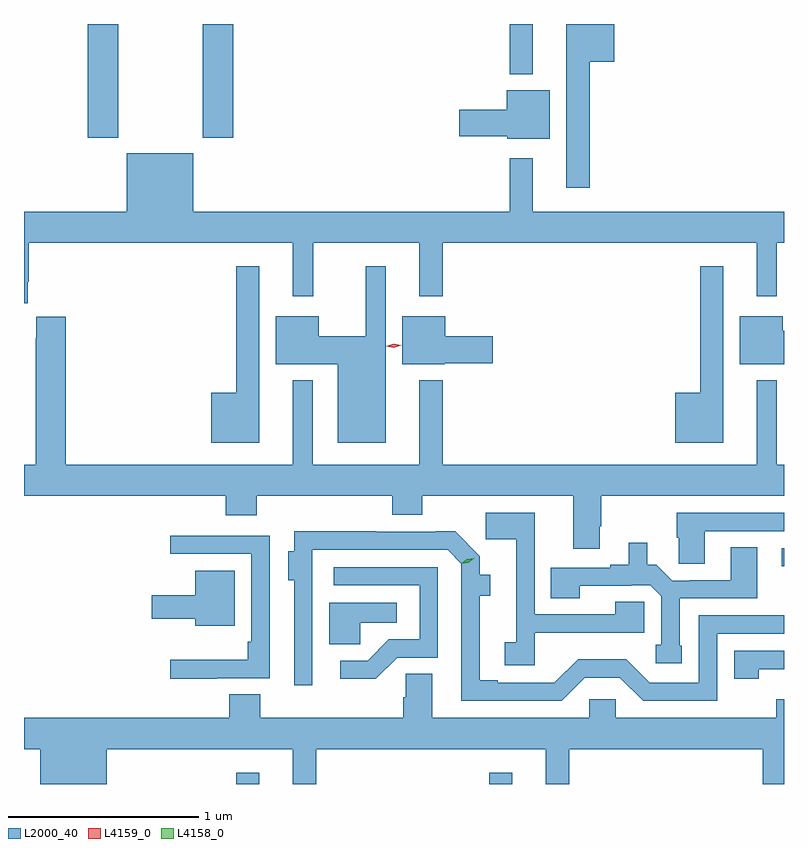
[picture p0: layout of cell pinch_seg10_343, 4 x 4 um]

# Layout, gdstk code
import gdstk
lib = gdstk.Library(unit=1e-6, precision=1e-09)
def R(c, l, rs):  # rectangles x0, y0, x1, y1
    for r in rs: c.add(gdstk.rectangle(r[:2], r[2:], *l))
def P(c, l, *ps):  # polygons
    for p in ps: c.add(gdstk.Polygon(p, *l))
L2000_40 = (2000, 40)
L4158_0 = (4158, 0)
L4159_0 = (4159, 0)

pinch_seg10_343 = lib.new_cell('pinch_seg10_343')
R(pinch_seg10_343, L2000_40, [(445.878,1266.832,445.999,1266.892), (447.21,1266.832,447.331,1266.892), (448.749,1267.977,448.762,1268.073), (445.097,1270.233,445.257,1270.832), (445.702,1270.233,445.862,1270.832), (447.318,1270.568,447.439,1270.832)])
P(pinch_seg10_343, L2000_40, [(447.739,1270.634),(447.868,1270.634),(447.868,1270.832),(447.617,1270.832),(447.617,1269.969),(447.739,1269.969)],
  [(447.529,1270.483),(447.302,1270.483),(447.302,1270.382),(447.054,1270.382),(447.054,1270.24),(447.306,1270.24),(447.306,1270.229),(447.529,1270.229)],
  [(444.762,1269.363),(444.781,1269.363),(444.781,1269.475),(444.788,1269.475),(444.788,1269.68),(446.177,1269.68),(446.177,1269.399),(446.284,1269.399),(446.284,1269.68),(446.843,1269.68),(446.843,1269.399),(446.965,1269.399),(446.965,1269.68),(448.619,1269.68),(448.619,1269.399),(448.723,1269.399),(448.723,1269.68),(448.762,1269.68),(448.762,1269.844),(447.439,1269.844),(447.439,1270.126),(447.318,1270.126),(447.318,1269.844),(445.654,1269.844),(445.654,1270.153),(445.304,1270.153),(445.304,1269.844),(444.762,1269.844)],
  [(446.665,1269.556),(446.561,1269.556),(446.561,1269.188),(446.314,1269.188),(446.314,1269.295),(446.087,1269.295),(446.087,1269.041),(446.414,1269.041),(446.414,1268.627),(446.665,1268.627)],
  [(445.999,1269.556),(445.878,1269.556),(445.878,1268.89),(445.748,1268.89),(445.748,1268.627),(445.999,1268.627)],
  [(448.441,1269.556),(448.32,1269.556),(448.32,1268.89),(448.19,1268.89),(448.19,1268.627),(448.441,1268.627)],
  [(448.762,1269.217),(448.756,1269.217),(448.756,1269.295),(448.529,1269.295),(448.529,1269.041),(448.762,1269.041)],
  [(446.976,1269.047),(447.229,1269.047),(447.229,1269.189),(446.98,1269.189),(446.98,1269.295),(446.753,1269.295),(446.753,1269.041),(446.976,1269.041)],
  [(447.793,1268.188),(447.801,1268.188),(447.801,1268.348),(448.762,1268.348),(448.762,1268.512),(448.723,1268.512),(448.723,1268.956),(448.619,1268.956),(448.619,1268.512),(446.965,1268.512),(446.965,1268.956),(446.843,1268.956),(446.843,1268.512),(446.281,1268.512),(446.281,1268.956),(446.177,1268.956),(446.177,1268.512),(444.983,1268.512),(444.983,1269.292),(444.827,1269.292),(444.827,1269.179),(444.823,1269.179),(444.823,1268.512),(444.762,1268.512),(444.762,1268.348),(445.823,1268.348),(445.823,1268.246),(445.988,1268.246),(445.988,1268.348),(446.699,1268.348),(446.699,1268.249),(446.859,1268.249),(446.859,1268.348),(447.653,1268.348),(447.653,1268.07),(447.793,1268.07)],
  [(447.45,1267.628),(447.917,1267.628),(447.917,1267.629),(448.027,1267.629),(448.027,1267.79),(447.874,1267.79),(447.874,1267.725),(447.45,1267.725),(447.45,1268.26),(447.192,1268.26),(447.192,1268.121),(447.353,1268.121),(447.353,1267.578),(447.291,1267.578),(447.291,1267.458),(447.45,1267.458)],
  [(448.345,1268.163),(448.762,1268.163),(448.762,1268.259),(448.198,1268.259),(448.198,1268.127),(448.207,1268.127),(448.207,1267.99),(448.345,1267.99)],
  [(447.714,1267.392),(447.897,1267.392),(448.02,1267.269),(448.41,1267.269),(448.41,1267.623),(448.762,1267.623),(448.762,1267.719),(448.314,1267.719),(448.314,1267.365),(448.056,1267.365),(447.932,1267.489),(447.678,1267.489),(447.554,1267.365),(447.256,1267.365),(447.256,1267.378),(447.16,1267.378),(447.16,1267.824),(447.217,1267.824),(447.217,1267.934),(447.161,1267.934),(447.161,1268.032),(447.031,1268.162),(446.93,1268.162),(446.93,1268.16),(446.615,1268.16),(446.615,1268.162),(446.184,1268.162),(446.184,1268.056),(446.153,1268.056),(446.153,1267.904),(446.184,1267.904),(446.184,1267.353),(446.28,1267.353),(446.28,1268.064),(446.991,1268.064),(447.063,1267.992),(447.063,1267.269),(447.591,1267.269)],
  [(445.777,1267.389),(446.055,1267.389),(446.055,1268.139),(445.533,1268.139),(445.533,1268.043),(445.959,1268.043),(445.959,1267.582),(445.939,1267.582),(445.939,1267.486),(445.533,1267.486),(445.533,1267.385),(445.777,1267.385)],
  [(448.225,1267.56),(448.212,1267.56),(448.212,1267.809),(448.621,1267.809),(448.621,1268.078),(448.481,1268.078),(448.481,1267.905),(448.267,1267.905),(448.267,1267.902),(448.173,1267.902),(448.089,1267.986),(448.042,1267.986),(448.042,1268.101),(447.944,1268.101),(447.944,1267.986),(447.848,1267.986),(447.848,1267.971),(447.535,1267.971),(447.535,1267.81),(447.687,1267.81),(447.687,1267.875),(447.959,1267.875),(447.959,1267.878),(448.059,1267.878),(448.116,1267.821),(448.116,1267.566),(448.086,1267.566),(448.086,1267.467),(448.225,1267.467)],
  [(446.727,1267.497),(446.94,1267.497),(446.94,1267.974),(446.391,1267.974),(446.391,1267.878),(446.844,1267.878),(446.844,1267.593),(446.682,1267.593),(446.571,1267.482),(446.427,1267.482),(446.427,1267.385),(446.614,1267.385)],
  [(445.87,1267.954),(445.664,1267.954),(445.664,1267.825),(445.434,1267.825),(445.434,1267.703),(445.664,1267.703),(445.664,1267.664),(445.87,1267.664)],
  [(446.533,1267.682),(446.725,1267.682),(446.725,1267.786),(446.369,1267.786),(446.369,1267.568),(446.533,1267.568)],
  [(448.628,1267.436),(448.762,1267.436),(448.762,1267.533),(448.5,1267.533),(448.5,1267.386),(448.628,1267.386)],
  [(444.762,1267.016),(444.848,1267.016),(444.848,1266.832),(445.198,1266.832),(445.198,1267.016),(446.177,1267.016),(446.177,1266.832),(446.299,1266.832),(446.299,1267.016),(447.509,1267.016),(447.509,1266.832),(447.631,1266.832),(447.631,1267.016),(448.65,1267.016),(448.65,1266.832),(448.762,1266.832),(448.762,1267.279),(448.72,1267.279),(448.72,1267.18),(447.876,1267.18),(447.876,1267.278),(447.738,1267.278),(447.738,1267.18),(446.911,1267.18),(446.911,1267.412),(446.772,1267.412),(446.772,1267.289),(446.759,1267.289),(446.759,1267.18),(446.006,1267.18),(446.006,1267.304),(445.841,1267.304),(445.841,1267.18),(444.762,1267.18)])
P(pinch_seg10_343, L4158_0, [(447.064,1267.992),(447.064,1267.992),(447.064,1267.992),(447.093,1268.016),(447.13,1268.021),(447.131,1268.021),(447.131,1268.02),(447.101,1267.997)])
P(pinch_seg10_343, L4159_0, [(446.709,1269.128),(446.668,1269.136),(446.668,1269.136),(446.668,1269.136),(446.708,1269.148),(446.748,1269.141),(446.748,1269.141),(446.748,1269.141)])

lib.write_gds('pinch_seg10_343.gds')
